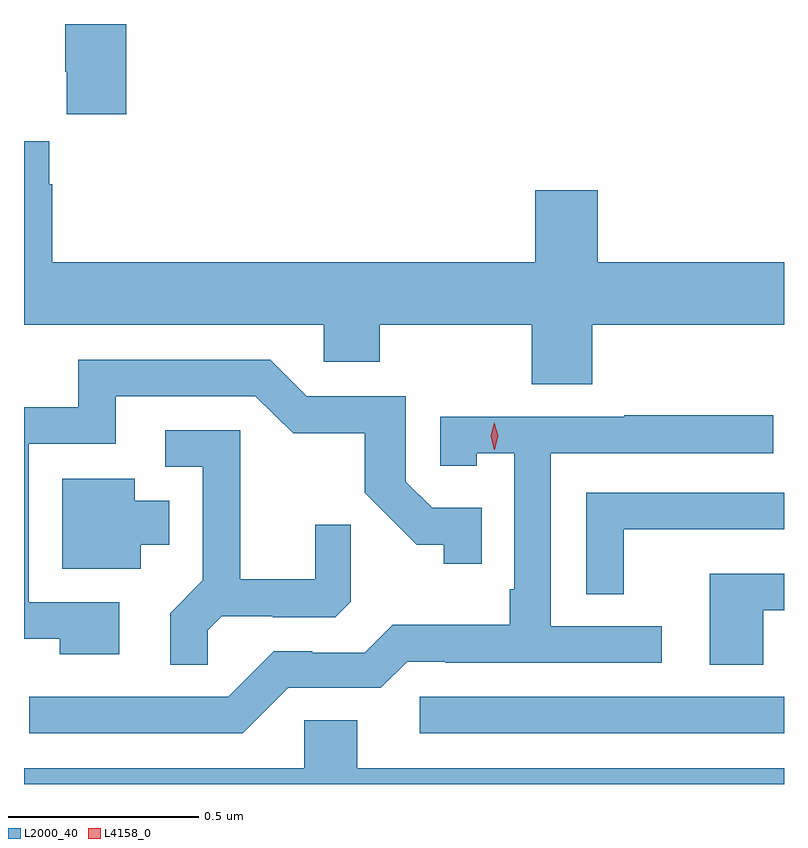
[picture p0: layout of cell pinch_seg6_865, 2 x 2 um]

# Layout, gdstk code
import gdstk
lib = gdstk.Library(unit=1e-6, precision=1e-09)
def R(c, l, rs):  # rectangles x0, y0, x1, y1
    for r in rs: c.add(gdstk.rectangle(r[:2], r[2:], *l))
def P(c, l, *ps):  # polygons
    for p in ps: c.add(gdstk.Polygon(p, *l))
L2000_40 = (2000, 40)
L4158_0 = (4158, 0)

pinch_seg6_865 = lib.new_cell('pinch_seg6_865')
R(pinch_seg6_865, L2000_40, [(176.691,956.916,177.65,957.012)])
P(pinch_seg6_865, L2000_40, [(175.919,958.783),(175.759,958.783),(175.759,958.657),(175.763,958.657),(175.763,958.545),(175.919,958.545)],
  [(177.146,957.992),(177.65,957.992),(177.65,958.156),(177.16,958.156),(177.16,958.345),(176.996,958.345),(176.996,958.156),(175.724,958.156),(175.724,958.361),(175.717,958.361),(175.717,958.474),(175.65,958.474),(175.65,957.992),(176.439,957.992),(176.439,957.894),(176.586,957.894),(176.586,957.992),(176.986,957.992),(176.986,957.835),(177.146,957.835)],
  [(175.9,957.261),(175.662,957.261),(175.662,957.678),(175.891,957.678),(175.891,957.804),(176.259,957.804),(176.358,957.706),(176.547,957.706),(176.547,957.55),(176.684,957.413),(176.754,957.413),(176.754,957.363),(176.855,957.363),(176.855,957.51),(176.724,957.51),(176.655,957.579),(176.655,957.804),(176.394,957.804),(176.298,957.9),(175.793,957.9),(175.793,957.774),(175.65,957.774),(175.65,957.165),(175.744,957.165),(175.744,957.125),(175.9,957.125)],
  [(176.346,957.036),(176.589,957.036),(176.658,957.105),(176.758,957.105),(176.758,957.102),(177.328,957.102),(177.328,957.198),(177.036,957.198),(177.036,957.654),(177.622,957.654),(177.622,957.753),(177.229,957.753),(177.229,957.75),(176.745,957.75),(176.745,957.621),(176.841,957.621),(176.841,957.653),(176.94,957.653),(176.94,957.295),(176.928,957.295),(176.928,957.202),(176.62,957.202),(176.547,957.129),(176.408,957.129),(176.408,957.132),(176.307,957.132),(176.187,957.012),(175.664,957.012),(175.664,956.916),(176.226,956.916)],
  [(176.133,957.188),(176.17,957.225),(176.304,957.225),(176.304,957.222),(176.469,957.222),(176.51,957.263),(176.51,957.465),(176.416,957.465),(176.416,957.322),(176.219,957.322),(176.219,957.714),(176.022,957.714),(176.022,957.618),(176.121,957.618),(176.121,957.319),(176.035,957.233),(176.035,957.097),(176.133,957.097)],
  [(175.957,957.413),(176.032,957.413),(176.032,957.529),(175.942,957.529),(175.942,957.586),(175.751,957.586),(175.751,957.35),(175.957,957.35)],
  [(177.228,957.453),(177.623,957.453),(177.623,957.454),(177.65,957.454),(177.65,957.549),(177.129,957.549),(177.129,957.283),(177.228,957.283)],
  [(177.595,957.24),(177.65,957.24),(177.65,957.336),(177.455,957.336),(177.455,957.097),(177.595,957.097)],
  [(177.65,956.824),(176.527,956.824),(176.527,956.951),(176.388,956.951),(176.388,956.824),(175.65,956.824),(175.65,956.783),(177.65,956.783)])
P(pinch_seg6_865, L4158_0, [(176.888,957.663),(176.878,957.698),(176.888,957.734),(176.888,957.735),(176.888,957.734),(176.898,957.699),(176.889,957.663),(176.889,957.663)])

lib.write_gds('pinch_seg6_865.gds')
